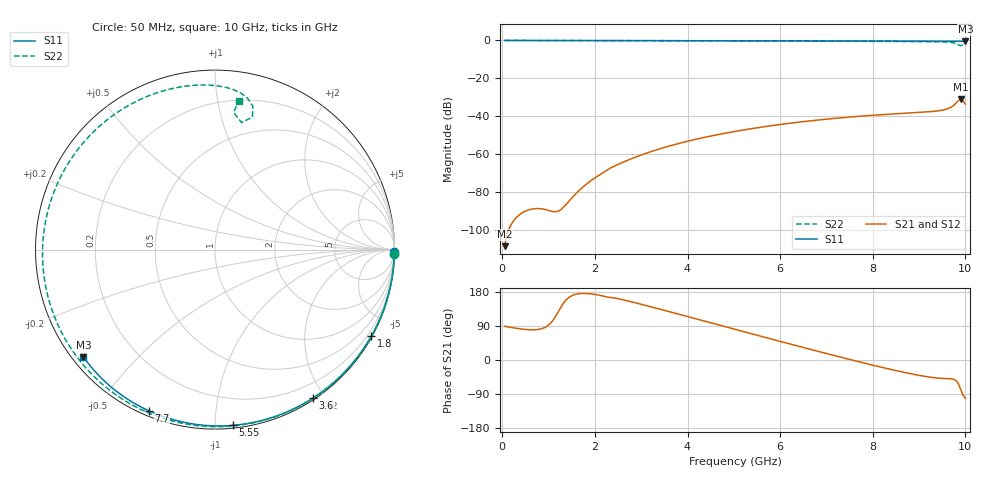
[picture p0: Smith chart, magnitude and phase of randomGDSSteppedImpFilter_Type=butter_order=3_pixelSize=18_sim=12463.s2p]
! freq	dB(S11)	phase(S11)	dB(S12)	phase(S12)
!  dB(S21)	phase(S21)	dB(S22)	phase(S22)
!S-par simulation data
#  GHz  S  DB  R 50
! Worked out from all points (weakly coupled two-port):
!   200 points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, 50 MHz to 10 GHz, reference 50 ohm
!   highest |S21| = -31.09 dB at 9.9 GHz (marker M1); lowest = -108.7 dB at 50 MHz (marker M2)
!   lowest |S11| = -0.5 dB at 10 GHz (marker M3), VSWR 37.10, Z = 1.52 - j17.8 ohm
!   |S11| at or under -10 dB: nowhere
!   |S22| runs from -2.8 to 0.0 dB; largest |S21 - S12| = 0
!   S11 on the Smith chart (normalised r, x): 50 MHz: open; 1.8 GHz: 0.03, -3.87; 3.6 GHz: 0.02, -1.86; 5.55 GHz: 0.02, -1.11; 7.7 GHz: 0.02, -0.67; 10 GHz: 0.03, -0.36
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0.05  -0.00 -0.8  -108.65 89.1  -108.65 89.1  -0.00 -1.4
0.8  -0.02 -13.0  -88.80 81.1  -88.80 81.1  -0.03 -22.7
1.6  -0.03 -25.8  -80.62 173.8  -80.62 173.8  -0.06 -44.9
1.75  -0.04 -28.2  -77.21 175.6  -77.21 175.6  -0.06 -49.0
1.8  -0.04 -28.9  -76.19 175.6  -76.19 175.6  -0.06 -50.3
2.4  -0.05 -38.3  -66.60 164.0  -66.60 164.0  -0.08 -66.4
3.4  -0.07 -53.5  -57.24 134.3  -57.24 134.3  -0.12 -92.2
3.6  -0.08 -56.5  -55.80 127.8  -55.80 127.8  -0.13 -97.3
4.3  -0.09 -66.7  -51.53 104.8  -51.53 104.8  -0.16 -114.7
5.05  -0.12 -77.3  -47.93 80.1  -47.93 80.1  -0.20 -133.3
5.55  -0.14 -84.2  -45.94 63.7  -45.94 63.7  -0.24 -145.8
6.7  -0.19 -99.5  -42.33 26.6  -42.33 26.6  -0.33 -175.7
7.2  -0.22 -105.9  -41.10 10.8  -41.10 10.8  -0.38 170.4
7.7  -0.26 -112.3  -40.06 -4.6  -40.06 -4.6  -0.44 155.6
8.35  -0.31 -120.4  -38.95 -23.8  -38.95 -23.8  -0.52 134.7
8.9  -0.36 -127.2  -38.17 -38.3  -38.17 -38.3  -0.59 115.1
9.4  -0.41 -133.3  -37.21 -47.7  -37.21 -47.7  -0.72 95.2
9.65  -0.44 -136.4  -35.74 -49.3  -35.74 -49.3  -0.94 83.4
9.8  -0.46 -138.2  -33.07 -54.4  -33.07 -54.4  -1.65 75.2
9.9  -0.46 -139.4  -31.09 -77.9  -31.09 -77.9  -2.81 78.2
9.95  -0.46 -140.0  -31.96 -93.2  -31.96 -93.2  -2.25 82.3
10  -0.47 -140.7  -33.59 -101.1  -33.59 -101.1  -1.53 80.9
